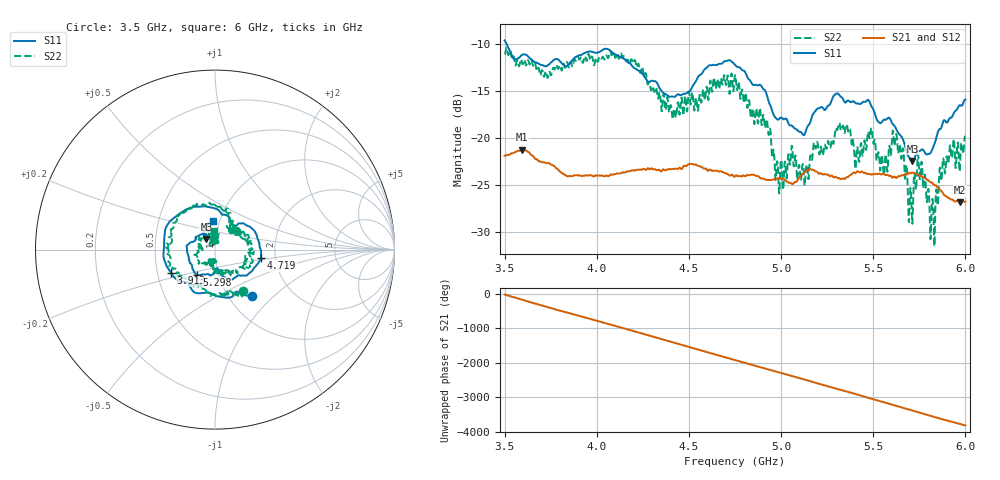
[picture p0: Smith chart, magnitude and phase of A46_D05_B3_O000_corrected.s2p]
! Created with skrf 1.9.0 (http://scikit-rf.org).
# Hz S RI R 50.0
!freq ReS11 ImS11 ReS21 ImS21 ReS12 ImS12 ReS22 ImS22
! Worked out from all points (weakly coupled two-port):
!   1601 points, 3.5 GHz to 6 GHz, reference 50 ohm
!   highest |S21| = -21.19 dB at 3.592 GHz (marker M1); lowest = -26.8 dB at 5.97 GHz (marker M2)
!   lowest |S11| = -22.4 dB at 5.713 GHz (marker M3), VSWR 1.16, Z = 45.1 + j5.35 ohm
!   |S11| at or under -10 dB: 3.512 GHz to end of sweep
!   |S22| runs from -31.5 to -10.4 dB; largest |S21 - S12| = 0.0011
!   S11 on the Smith chart (normalised r, x): 3.5 GHz: 1.27, -0.74; 3.913 GHz: 0.59, -0.17; 4.719 GHz: 1.68, -0.17; 5.298 GHz: 0.79, -0.23; 6 GHz: 0.93, +0.31
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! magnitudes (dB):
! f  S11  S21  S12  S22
! 3.5 GHz  -9.6  -21.9  -21.8  -11.1
! 3.592 GHz  -11.2  -21.2  -21.2  -11.8
! 3.913 GHz  -11.1  -24.0  -23.9  -11.4
! 3.917 GHz  -11.1  -24.0  -24.0  -11.5
! 4.141 GHz  -11.5  -23.6  -23.6  -11.4
! 4.334 GHz  -14.4  -23.3  -23.3  -15.7
! 4.42 GHz  -15.6  -23.2  -23.2  -16.9
! 4.719 GHz  -11.7  -23.9  -23.9  -15.1
! 4.75 GHz  -12.2  -24.0  -23.9  -13.3
! 4.931 GHz  -16.0  -24.4  -24.3  -19.5
! 4.981 GHz  -18.0  -24.3  -24.3  -22.6
! 5.167 GHz  -17.7  -23.3  -23.3  -22.3
! 5.298 GHz  -15.3  -24.1  -24.0  -18.9
! 5.584 GHz  -17.8  -24.0  -23.9  -21.2
! 5.617 GHz  -18.7  -24.1  -24.0  -20.6
! 5.702 GHz  -22.2  -23.7  -23.6  -25.3
! 5.713 GHz  -22.4  -23.7  -23.6  -29.1
! 5.752 GHz  -21.3  -23.9  -23.9  -24.3
! 5.822 GHz  -21.1  -24.8  -24.7  -26.4
! 5.87 GHz  -18.8  -25.6  -25.5  -24.5
! 5.97 GHz  -16.5  -26.8  -26.7  -23.3
! 6 GHz  -15.9  -26.7  -26.6  -19.8
